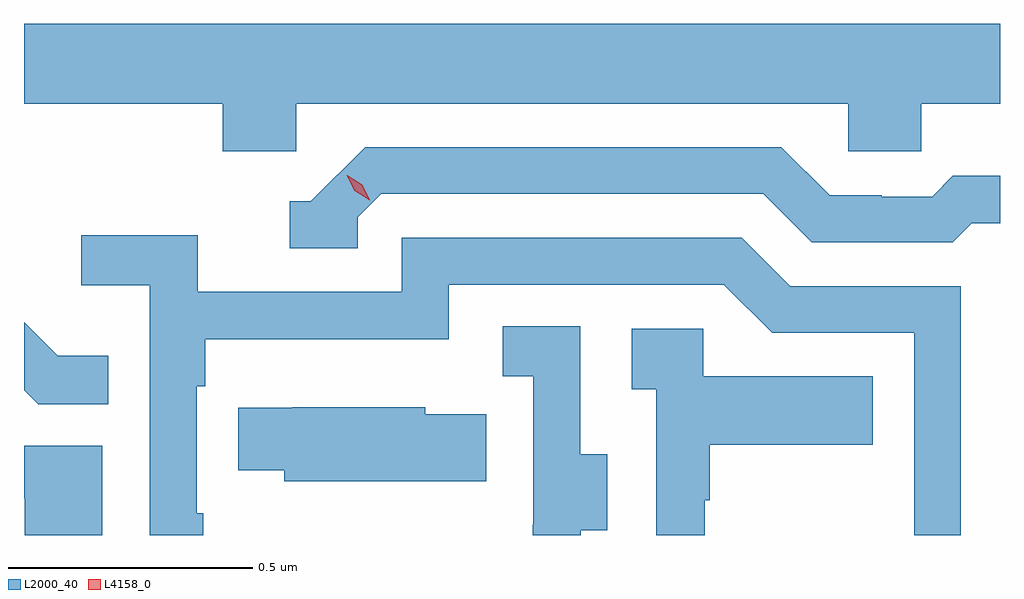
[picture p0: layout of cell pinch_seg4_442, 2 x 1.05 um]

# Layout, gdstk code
import gdstk
lib = gdstk.Library(unit=1e-6, precision=1e-09)
def P(c, l, *ps):  # polygons
    for p in ps: c.add(gdstk.Polygon(p, *l))
L2000_40 = (2000, 40)
L4158_0 = (4158, 0)

pinch_seg4_442 = lib.new_cell('pinch_seg4_442')
P(pinch_seg4_442, L2000_40, [(934.242,772.844),(935.373,772.844),(935.373,772.746),(935.523,772.746),(935.523,772.844),(935.684,772.844),(935.684,773.008),(933.684,773.008),(933.684,772.844),(934.091,772.844),(934.091,772.746),(934.242,772.746)],
  [(934.368,772.611),(934.416,772.659),(935.199,772.659),(935.298,772.56),(935.587,772.56),(935.626,772.599),(935.684,772.599),(935.684,772.696),(935.587,772.696),(935.545,772.653),(935.442,772.653),(935.442,772.656),(935.335,772.656),(935.236,772.755),(934.383,772.755),(934.272,772.644),(934.229,772.644),(934.229,772.548),(934.368,772.548)],
  [(934.051,772.004),(934.038,772.004),(934.038,772.265),(934.055,772.265),(934.055,772.361),(934.554,772.361),(934.554,772.473),(935.118,772.473),(935.217,772.374),(935.508,772.374),(935.508,771.959),(935.604,771.959),(935.604,772.47),(935.254,772.47),(935.155,772.569),(934.458,772.569),(934.458,772.458),(934.04,772.458),(934.04,772.574),(933.801,772.574),(933.801,772.472),(933.942,772.472),(933.942,771.959),(934.051,771.959)],
  [(933.857,772.327),(933.753,772.327),(933.684,772.396),(933.684,772.257),(933.713,772.228),(933.857,772.228)],
  [(934.825,771.97),(934.879,771.97),(934.879,772.125),(934.824,772.125),(934.824,772.388),(934.665,772.388),(934.665,772.285),(934.728,772.285),(934.728,771.981),(934.727,771.981),(934.727,771.959),(934.825,771.959)],
  [(935.079,772.031),(935.089,772.031),(935.089,772.145),(935.423,772.145),(935.423,772.285),(935.076,772.285),(935.076,772.383),(934.929,772.383),(934.929,772.259),(934.98,772.259),(934.98,771.959),(935.079,771.959)],
  [(934.631,772.207),(934.506,772.207),(934.506,772.222),(934.234,772.222),(934.234,772.221),(934.123,772.221),(934.123,772.093),(934.217,772.093),(934.217,772.07),(934.631,772.07)],
  [(933.844,772.143),(933.684,772.143),(933.684,772.035),(933.686,772.035),(933.686,771.959),(933.844,771.959)])
P(pinch_seg4_442, L4158_0, [(934.393,772.646),(934.362,772.665),(934.345,772.697),(934.345,772.697),(934.346,772.697),(934.377,772.678),(934.393,772.646),(934.393,772.646)])

lib.write_gds('pinch_seg4_442.gds')
